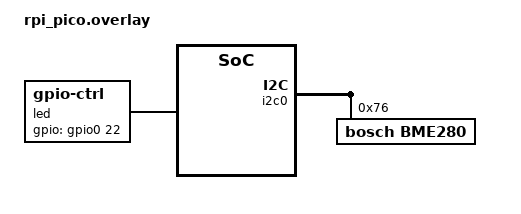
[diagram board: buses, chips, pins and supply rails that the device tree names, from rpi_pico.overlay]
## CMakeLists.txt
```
cmake_minimum_required(VERSION 3.20.0)

set(BOARD rpi_pico)
#set(DTC_OVERLAY_FILE ${CMAKE_CURRENT_SOURCE_DIR}/rpi_pico.overlay)

find_package(Zephyr REQUIRED HINTS $ENV{ZEPHYR_BASE})
project(prova_led)

target_sources(app PRIVATE src/main.c)
```

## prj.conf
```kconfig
CONFIG_GPIO=y
CONFIG_SENSOR=y
CONFIG_I2C=y
CONFIG_BME280=y
```

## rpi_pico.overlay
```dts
/ {
    led: led {
        compatible = "gpio-ctrl";
        gpios = <&gpio0 22 0x0>;
    };
};
&pinctrl{
	myi2c: myi2c {
		group1 {
			pinmux = <I2C0_SDA_P4>, <I2C0_SCL_P5>;
			input-enable;
			input-schmitt-enable;
		};
	};
};
&i2c0 {
	status = "okay";
	pinctrl-0 = <&myi2c>;
	bme280: bme280@76 {
		compatible = "bosch,bme280";
		reg = <0x76>;
	};
};
```

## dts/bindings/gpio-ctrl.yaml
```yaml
# Copyright (c) 2022 Nordic Semiconductor ASA
# SPDX-License-Identifier: Apache-2.0

description: GPIO-driven something.

compatible: "gpio-ctrl"

include: [ base.yaml ]

properties:
  gpios:
    required: true
    type: phandle-array
    description: GPIO specifier driving the thing.
```

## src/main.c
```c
/*
 * Copyright (c) 2023 Libre Solar Technologies GmbH
 *
 * SPDX-License-Identifier: Apache-2.0
 */

#include <stdio.h>

#include <zephyr/devicetree.h>
#include <zephyr/drivers/gpio.h>
#include <zephyr/kernel.h>
#include <zephyr/device.h>
#include <zephyr/drivers/sensor.h>

static const struct device *get_bme280_device(void)
{
	const struct device* dev = DEVICE_DT_GET_ANY(bosch_bme280);

	if (dev == NULL) {
		/* No such node, or the node does not have status "okay". */
		printk("\nError: no device found.\n");
		return NULL;
	}

	if (!device_is_ready(dev)) {
		printk("\nError: Device \"%s\" is not ready; "
		       "check the driver initialization logs for errors.\n",
		       dev->name);
		return NULL;
	}

	printk("Found device \"%s\", getting sensor data\n", dev->name);
	return dev;
}

//clock-frequency = <I2C_BITRATE_STANDARD>;
int main(void)
{
    //LED
    static const struct gpio_dt_spec led_dev = GPIO_DT_SPEC_GET(DT_NODELABEL(led), gpios);
    gpio_pin_configure_dt(&led_dev, GPIO_OUTPUT_ACTIVE);


    while(1){
        //LED
        printk("nel main\n");
        k_msleep(500);
        gpio_pin_toggle_dt(&led_dev);
        
        // BME
        const struct device *bme_dev = get_bme280_device();
        if (bme_dev == NULL) {
            return 0;
        }
        //BME
        struct sensor_value temp, press, humidity;

		sensor_sample_fetch(bme_dev);
		sensor_channel_get(bme_dev, SENSOR_CHAN_AMBIENT_TEMP, &temp);
		sensor_channel_get(bme_dev, SENSOR_CHAN_PRESS, &press);
		sensor_channel_get(bme_dev, SENSOR_CHAN_HUMIDITY, &humidity);

		printk("temp: %d.%06d; press: %d.%06d; humidity: %d.%06d\n",
		      temp.val1, temp.val2, press.val1, press.val2,
		      humidity.val1, humidity.val2); 
    }
	return 0;
}
```
